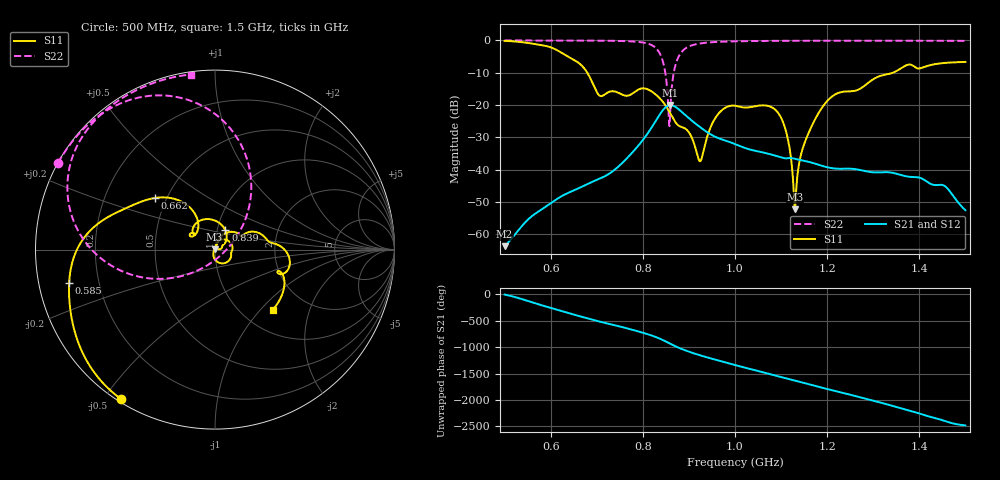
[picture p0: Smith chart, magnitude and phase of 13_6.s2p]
! TOUCHSTONE file generated by CST MICROWAVE STUDIO
! Date and time: Sat Oct 24 11:44:38 2020
! Project name: Scenario_1_Circular_Tissue_out_of_Line.cst
! Parameters = {dy1=-137.908; L_HA=400; MT=2.54; Rad_Dielectric=30; Rad_Lower=7.3; Rad_Upper=30; a_HA=580; a_WG=246; b_HA=500; b_WG=121; c_HA=0; c_WG=187; d_feed=85; dx1=1039; h_feed=15; h_lower=18; h_upper=40}
! Header version: 2018
! Port assignment regex: !\s*Touchstone port\s*([0-9]+)\s*=\s*(CST MWS port|CST DS port)\s*([0-9]+|Zmin|Zmax)\s*\(\"(.*)\"\)(\s*mode\s*([0-9]+))?.*
! Touchstone port assignment:
! Touchstone port 1 = CST MWS port 1 ("")
! Touchstone port 2 = CST MWS port 2 ("")
# GHz S DB R 50
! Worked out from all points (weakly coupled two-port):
!   1001 points, 500 MHz to 1.5 GHz, reference 50 ohm
!   highest |S21| = -20.00 dB at 860 MHz (marker M1); lowest = -63.6 dB at 500 MHz (marker M2)
!   lowest |S11| = -52.2 dB at 1.13 GHz (marker M3), VSWR 1.00, Z = 49.8 + j0.123 ohm
!   |S11| at or under -10 dB: 679.4 MHz to 1.342 GHz (662.9 MHz wide, 65.6 % of centre)
!   |S22| runs from -26.5 to 0.0 dB; largest |S21 - S12| = 0.00016
!   S11 on the Smith chart (normalised r, x): 500 MHz: 0.01, -0.55; 585 MHz: 0.09, -0.11; 662 MHz: 0.43, +0.31; 839 MHz: 1.09, +0.24; 1.5 GHz: 1.37, -1.17
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0.5  -0.15 -122.3  -63.61 -3.3  -63.61 -3.3  -0.01 151.1
0.585  -1.58 -167.2  -51.81 142.1  -51.81 142.1  -0.02 145.2
0.662  -7.09 139.5  -45.62 -51.7  -45.62 -51.7  -0.04 138.8
0.667  -7.72 134.9  -45.27 -63.6  -45.27 -63.6  -0.04 138.4
0.708  -17.20 138.9  -42.65 -159.0  -42.65 -159.0  -0.07 133.9
0.789  -15.29 135.3  -32.74 21.6  -32.74 21.6  -0.44 117.3
0.834  -17.50 68.9  -23.52 -107.2  -23.52 -107.2  -3.34 82.9
0.839  -18.23 61.9  -22.43 -126.0  -22.43 -126.0  -4.67 74.6
0.86  -22.65 36.0  -20.00 142.9  -20.00 142.9  -20.31 -115.8
0.878  -26.38 30.4  -21.32 68.8  -21.32 68.8  -4.90 -169.9
0.924  -37.37 38.1  -26.79 -72.6  -26.79 -72.7  -0.94 156.4
0.958  -23.84 57.9  -29.85 -156.9  -29.85 -156.9  -0.48 147.2
1  -20.20 3.9  -32.04 102.6  -32.04 102.6  -0.27 140.2
1.094  -22.48 -74.2  -35.93 -111.1  -35.93 -111.5  -0.13 130.2
1.114  -30.02 -107.4  -36.42 -158.2  -36.41 -158.2  -0.12 128.5
1.13  -52.22 149.7  -36.61 168.5  -36.60 168.0  -0.11 127.1
1.144  -34.84 69.6  -37.04 136.6  -37.03 136.5  -0.10 126.0
1.167  -26.33 70.7  -37.81 82.3  -37.82 82.4  -0.10 124.2
1.214  -16.99 44.4  -39.57 -20.5  -39.57 -20.5  -0.09 120.5
1.334  -10.37 8.3  -40.76 68.5  -40.76 68.5  -0.09 111.4
1.453  -6.99 -32.4  -44.84 130.2  -44.76 130.1  -0.11 102.0
1.5  -6.65 -46.1  -52.50 39.6  -52.43 38.9  -0.13 97.9
